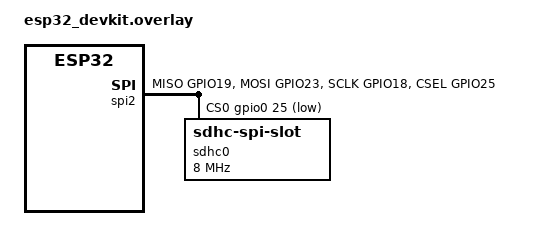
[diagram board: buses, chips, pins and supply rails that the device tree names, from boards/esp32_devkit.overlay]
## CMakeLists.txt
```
cmake_minimum_required(VERSION 3.20.0)

execute_process(
    COMMAND python ${CMAKE_CURRENT_LIST_DIR}/../scripts/generate_zephyr_overlay.py
            --config ${CMAKE_CURRENT_LIST_DIR}/../hardware_config.json
            --expert motor
            --out ${CMAKE_CURRENT_LIST_DIR}/boards/generated.overlay
    RESULT_VARIABLE OVERLAY_GEN_RESULT
)
if(NOT OVERLAY_GEN_RESULT EQUAL 0)
    message(FATAL_ERROR "Failed to generate motor_expert_logger devicetree overlay")
endif()

set(DTC_OVERLAY_FILE boards/generated.overlay)

find_package(Zephyr REQUIRED HINTS $ENV{ZEPHYR_BASE})

project(motor_expert_logger)

target_include_directories(app PRIVATE ../common)
target_sources(app PRIVATE
    src/main.c
    ../common/dataset_commands.c
    ../common/uart_line_parser.c
    ../common/csv_logger.c
)
```

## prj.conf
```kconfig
# Zephyr config for motor_expert_logger

CONFIG_SERIAL=y
CONFIG_CONSOLE=y
CONFIG_UART_CONSOLE=y
CONFIG_SHELL=y
CONFIG_SHELL_BACKEND_SERIAL=y
CONFIG_LOG=y
CONFIG_PRINTK=y

CONFIG_GPIO=y
CONFIG_I2C=y
CONFIG_SPI=y
CONFIG_ADC=y
CONFIG_SENSOR=y

CONFIG_DISK_ACCESS=y
CONFIG_DISK_DRIVER_SDMMC=y
CONFIG_FILE_SYSTEM=y
CONFIG_FAT_FILESYSTEM_ELM=y
CONFIG_FS_FATFS_LFN=y
CONFIG_SDHC=y
CONFIG_SDMMC_STACK=y

CONFIG_MAIN_STACK_SIZE=4096
CONFIG_HEAP_MEM_POOL_SIZE=8192

CONFIG_NEWLIB_LIBC=y
CONFIG_MINIMAL_LIBC=n
```

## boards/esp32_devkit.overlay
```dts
/* ESP32 DevKit overlay for Motor Expert Logger. */
/* SD: SCK GPIO18, MISO GPIO19, MOSI GPIO23, CS GPIO25. */
/* Enable motor-tel-uart after choosing UART pins for the main controller link. */

#include <zephyr/dt-bindings/pinctrl/esp32-pinctrl.h>

&pinctrl {
    motor_spim2_default: motor_spim2_default {
        group1 {
            pinmux = <SPIM2_MISO_GPIO19>,
                     <SPIM2_MOSI_GPIO23>,
                     <SPIM2_SCLK_GPIO18>,
                     <SPIM2_CSEL_GPIO25>;
        };
    };
};

&spi2 {
    status = "okay";
    cs-gpios = <&gpio0 25 GPIO_ACTIVE_LOW>;
    pinctrl-0 = <&motor_spim2_default>;
    pinctrl-names = "default";

    sdhc0: sdhc@0 {
        compatible = "zephyr,sdhc-spi-slot";
        reg = <0>;
        status = "okay";
        spi-max-frequency = <8000000>;

        mmc {
            compatible = "zephyr,sdmmc-disk";
            disk-name = "SD";
            status = "okay";
        };
    };
};

/ {
    aliases {
        /* motor-tel-uart = &uart1; */
        /* vibration-sensor = &imu0; */
        /* left-current-sensor = &left_current_sensor; */
        /* right-current-sensor = &right_current_sensor; */
    };
};
```

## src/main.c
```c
#include "csv_logger.h"
#include "dataset_commands.h"
#include "uart_line_parser.h"

#include <errno.h>
#include <stdlib.h>
#include <string.h>
#include <zephyr/device.h>
#include <zephyr/kernel.h>
#include <zephyr/logging/log.h>
#include <zephyr/sys/printk.h>

LOG_MODULE_REGISTER(motor_expert_logger, LOG_LEVEL_INF);

#define ROBOT_ID "porter_dev"
#define EXPERT_NAME "motor_expert"
#define FAULT_SUBSYSTEM "motor"
#define LOG_PERIOD_MS 100
#define TELEMETRY_STALE_MS 500
#define UART_BUF_LEN 128
#define LINE_BUF_LEN 384

struct motor_telemetry {
	struct k_mutex lock;
	int pwm_left;
	int pwm_right;
	int rpm_left;
	int rpm_right;
	long long encoder_left;
	long long encoder_right;
	double current_left_a;
	double current_right_a;
	int64_t last_rx_ms;
};

static struct motor_telemetry telemetry;
static char uart_buffer[UART_BUF_LEN];
static struct uart_line_parser parser;

#if DT_NODE_HAS_STATUS(DT_ALIAS(motor_tel_uart), okay)
static const struct device *const telemetry_uart = DEVICE_DT_GET(DT_ALIAS(motor_tel_uart));
#else
static const struct device *const telemetry_uart;
#endif

static const struct dataset_config dataset_config = {
	.expert_name = EXPERT_NAME,
	.fault_subsystem = FAULT_SUBSYSTEM,
	.robot_id = ROBOT_ID,
	.raw_header = DATASET_COMMON_COLUMNS
		      ",pwm_left,pwm_right,rpm_left,rpm_right,encoder_count_left,"
		      "encoder_count_right,current_left_a,current_right_a,vibration_rms,"
		      "vibration_peak,motor_temp_left_c,motor_temp_right_c,telemetry_valid,"
		      "telemetry_age_ms\n",
	.metadata_extra = "sample_period_ms=100\ntelemetry_stale_ms=500\n",
};

static int parse_int_token(char **saveptr, int *value)
{
	char *token = strtok_r(NULL, ",", saveptr);
	char *end;
	long parsed;

	if (token == NULL) {
		return -EINVAL;
	}

	parsed = strtol(token, &end, 10);
	if (*end != '\0') {
		return -EINVAL;
	}

	*value = (int)parsed;
	return 0;
}

static int parse_i64_token(char **saveptr, long long *value)
{
	char *token = strtok_r(NULL, ",", saveptr);
	char *end;
	long long parsed;

	if (token == NULL) {
		return -EINVAL;
	}

	parsed = strtoll(token, &end, 10);
	if (*end != '\0') {
		return -EINVAL;
	}

	*value = parsed;
	return 0;
}

static int parse_double_token(char **saveptr, double *value)
{
	char *token = strtok_r(NULL, ",", saveptr);
	char *end;
	double parsed;

	if (token == NULL) {
		return -EINVAL;
	}

	parsed = strtod(token, &end);
	if (*end != '\0') {
		return -EINVAL;
	}

	*value = parsed;
	return 0;
}

static void handle_telemetry_line(const char *line, void *user_data)
{
	char local[UART_BUF_LEN];
	char *saveptr;
	char *prefix;
	struct motor_telemetry next;

	ARG_UNUSED(user_data);

	strncpy(local, line, sizeof(local) - 1);
	local[sizeof(local) - 1] = '\0';

	prefix = strtok_r(local, ",", &saveptr);
	if (prefix == NULL || strcmp(prefix, "TEL") != 0) {
		return;
	}

	if (parse_int_token(&saveptr, &next.pwm_left) != 0 ||
	    parse_int_token(&saveptr, &next.pwm_right) != 0 ||
	    parse_int_token(&saveptr, &next.rpm_left) != 0 ||
	    parse_int_token(&saveptr, &next.rpm_right) != 0 ||
	    parse_i64_token(&saveptr, &next.encoder_left) != 0 ||
	    parse_i64_token(&saveptr, &next.encoder_right) != 0 ||
	    parse_double_token(&saveptr, &next.current_left_a) != 0 ||
	    parse_double_token(&saveptr, &next.current_right_a) != 0) {
		LOG_WRN("Invalid TEL line");
		return;
	}

	next.last_rx_ms = k_uptime_get();
	k_mutex_lock(&telemetry.lock, K_FOREVER);
	telemetry.pwm_left = next.pwm_left;
	telemetry.pwm_right = next.pwm_right;
	telemetry.rpm_left = next.rpm_left;
	telemetry.rpm_right = next.rpm_right;
	telemetry.encoder_left = next.encoder_left;
	telemetry.encoder_right = next.encoder_right;
	telemetry.current_left_a = next.current_left_a;
	telemetry.current_right_a = next.current_right_a;
	telemetry.last_rx_ms = next.last_rx_ms;
	k_mutex_unlock(&telemetry.lock);
}

static void logger_thread(void)
{
	char line[LINE_BUF_LEN];
	struct dataset_snapshot snapshot;
	struct motor_telemetry sample;
	int64_t now;
	int age_ms;
	bool valid;
	int offset;

	while (true) {
		if (telemetry_uart != NULL) {
			uart_line_parser_poll(&parser);
		}

		k_sleep(K_MSEC(LOG_PERIOD_MS));

		if (!dataset_is_run_active()) {
			continue;
		}

		now = k_uptime_get();
		dataset_get_snapshot(&snapshot);

		k_mutex_lock(&telemetry.lock, K_FOREVER);
		sample = telemetry;
		k_mutex_unlock(&telemetry.lock);

		age_ms = sample.last_rx_ms > 0 ? (int)(now - sample.last_rx_ms) : -1;
		valid = age_ms >= 0 && age_ms <= TELEMETRY_STALE_MS;

		offset = dataset_write_common_prefix(line, sizeof(line), &snapshot, now);
		if (offset < 0 || offset >= (int)sizeof(line)) {
			continue;
		}

		csv_append_int(line, sizeof(line), &offset, valid ? sample.pwm_left : -1);
		csv_append_int(line, sizeof(line), &offset, valid ? sample.pwm_right : -1);
		csv_append_int(line, sizeof(line), &offset, valid ? sample.rpm_left : -1);
		csv_append_int(line, sizeof(line), &offset, valid ? sample.rpm_right : -1);
		csv_append_i64(line, sizeof(line), &offset, valid ? sample.encoder_left : -1);
		csv_append_i64(line, sizeof(line), &offset, valid ? sample.encoder_right : -1);
		csv_append_double(line, sizeof(line), &offset, valid ? sample.current_left_a : -1.0);
		csv_append_double(line, sizeof(line), &offset, valid ? sample.current_right_a : -1.0);
		csv_append_double(line, sizeof(line), &offset, -1.0);
		csv_append_double(line, sizeof(line), &offset, -1.0);
		csv_append_double(line, sizeof(line), &offset, -1.0);
		csv_append_double(line, sizeof(line), &offset, -1.0);
		csv_append_bool(line, sizeof(line), &offset, valid);
		csv_append_int(line, sizeof(line), &offset, age_ms);
		snprintf(line + offset, sizeof(line) - offset, "\n");

		dataset_write_raw_line(line);
	}
}

K_THREAD_DEFINE(logger_tid, 4096, logger_thread, NULL, NULL, NULL, 5, 0, 0);

int main(void)
{
	int ret;

	k_mutex_init(&telemetry.lock);

	printk("========================================\n");
	printk("Motor Expert Logger\n");
	printk("========================================\n");
	printk("UART format: TEL,pwm_left,pwm_right,rpm_left,rpm_right,encoder_left,encoder_right,current_left,current_right\n");

	ret = dataset_init(&dataset_config);
	if (ret != 0) {
		LOG_ERR("SD storage is not ready: %d", ret);
	}

	if (telemetry_uart != NULL && device_is_ready(telemetry_uart)) {
		uart_line_parser_init(&parser, telemetry_uart, uart_buffer, sizeof(uart_buffer),
				      handle_telemetry_line, NULL);
		LOG_INF("Motor telemetry UART ready");
	} else {
		LOG_WRN("No motor-tel-uart alias is enabled; telemetry will remain invalid");
	}

	return 0;
}
```
